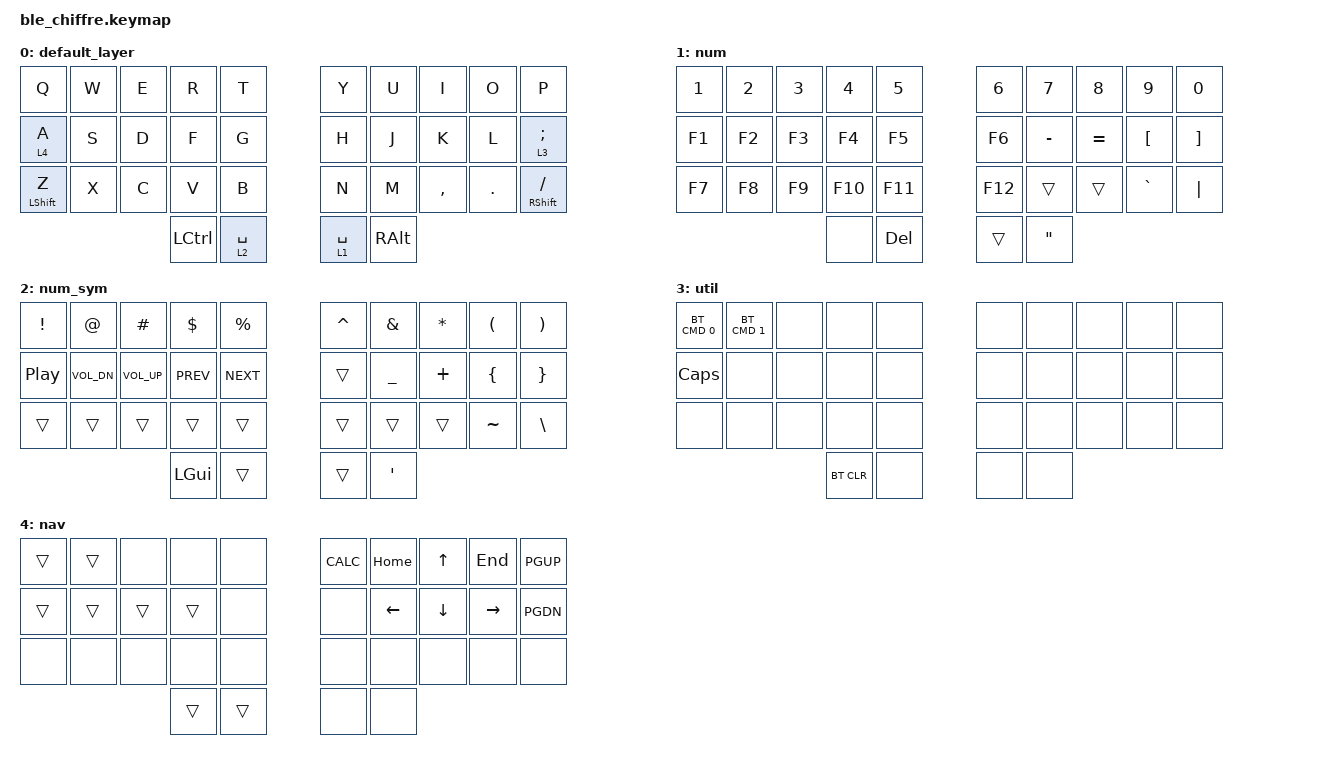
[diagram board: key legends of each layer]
/*
 * Copyright (c) 2020 The ZMK Contributors
 *
 * SPDX-License-Identifier: MIT
 * pants map
 */

#include <behaviors.dtsi>
#include <dt-bindings/zmk/keys.h>
#include <dt-bindings/zmk/bt.h>
#include <dt-bindings/zmk/rgb.h>

#define DEFAULT 0
#define NUM		1
#define NUM_SYM 2
#define UTIL    3
#define NAV		4

/ {
	behaviors {
		
		bh: layer_taps 
		{
			compatible = "zmk,behavior-hold-tap";
			label = "Layer-Tap";
			#binding-cells = <2>;
			tapping_term_ms = <215>;
            flavor = "tap-preferred";
			bindings = <&mo>, <&kp>;
        };

        hm: homerow_mods0 
		{
			compatible = "zmk,behavior-hold-tap";
			label = "homerow mods";
			#binding-cells = <2>;
			tapping_term_ms = <230>;
            flavor = "tap-preferred";
			bindings = <&kp>, <&kp>;
        };
        
        hm1: homerow_mods1 
		{
			compatible = "zmk,behavior-hold-tap";
			label = "homerow mods";
			#binding-cells = <2>;
			tapping_term_ms = <205>;
            flavor = "tap-preferred";
			bindings = <&kp>, <&kp>;
        };

        hm2: homerow_mods2 
		{
			compatible = "zmk,behavior-hold-tap";
			label = "homerow mods 2";
			#binding-cells = <2>;
			tapping_term_ms = <250>;
            flavor = "tap-preferred";
			bindings = <&kp>, <&kp>;
        };
   	 };
};

/ {
	combos {
		compatible = "zmk,combos";
		combo_esc 
		{
			timeout-ms = <30>;
			key-positions = <0 1>;
			bindings = <&kp ESC>;
		};
		combo_tab 
		{
			timeout-ms = <35>;
			key-positions = <11 12>;
			bindings = <&kp TAB>;
		};
		combo_bspc 
		{
			timeout-ms = <40>;
			key-positions = <8 9>;
			bindings = <&kp BSPC>;
		};
		combo_ent
		{
			timeout-ms = <35>;
			key-positions = <18 19>;
			bindings = <&kp RET>;
		};
		combo_slsh
		{
			timeout-ms = <35>;
			key-positions = <28 29>;
			bindings = <&kp FSLH>;
		};
	};
};

/ {
    keymap 
	{
    compatible = "zmk,keymap";

    default_layer {
            bindings = <
    &kp Q &kp W &kp E &kp R &kp T &kp Y &kp U &kp I &kp O &kp P
    &lt 4 A &kp S &kp D &kp F &kp G &kp H &kp J &kp K &kp L &lt 3 SEMI
    &hm1 LSHIFT Z &kp X &kp C &kp V &kp B &kp N &kp M &kp COMMA &kp DOT &hm1 RSHIFT FSLH
    &kp LCTRL &bh 2 SPACE &bh 1 SPACE &kp RALT
            >;
        };

    num {
            bindings = <
    &kp N1 &kp N2 &kp N3 &kp N4 &kp N5 &kp N6 &kp N7 &kp N8 &kp N9 &kp N0
    &kp F1 &kp F2 &kp F3 &kp F4 &kp F5 &kp F6 &kp MINUS &kp EQUAL &kp LBKT &kp RBKT
    &kp F7 &kp F8 &kp F9 &kp F10 &kp F11 &kp F12 &trans &trans &kp GRAVE &kp PIPE
    &none &kp DEL &trans &kp DQT
            >;
        };

    num_sym {
            bindings = <
    &kp EXCL &kp AT &kp POUND &kp DLLR &kp PRCNT &kp CARET &kp AMPS &kp STAR &kp LPAR &kp RPAR
    &kp C_PP &kp C_VOL_DN &kp C_VOL_UP &kp C_PREV &kp C_NEXT &trans &kp UNDER &kp PLUS &kp LBRC &kp RBRC
    &trans &trans &trans &trans &trans &trans &trans &trans &kp TILDE &kp BSLH
    &kp LGUI &trans &trans &kp SQT
            >;
        };

    util {
            bindings = <
    &bt BT_SEL_CMD 0 &bt BT_SEL_CMD 1 &none &none &none &none &none &none &none &none
    &kp CAPS &none &none &none &none &none &none &none &none &none
    &none &none &none &none &none &none &none &none &none &none
    &bt BT_CLR &none &none &none
            >;
        };

	nav {
            bindings = <
    &trans &trans &none &none &none &kp K_CALC &kp HOME &kp UP &kp END &kp PGUP
    &trans &trans &trans &trans &none &none &kp LEFT &kp DOWN &kp RIGHT &kp PGDN
    &none &none &none &none &none &none &none &none &none &none
    &trans &trans &none &none
            >;
        };
    };
};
